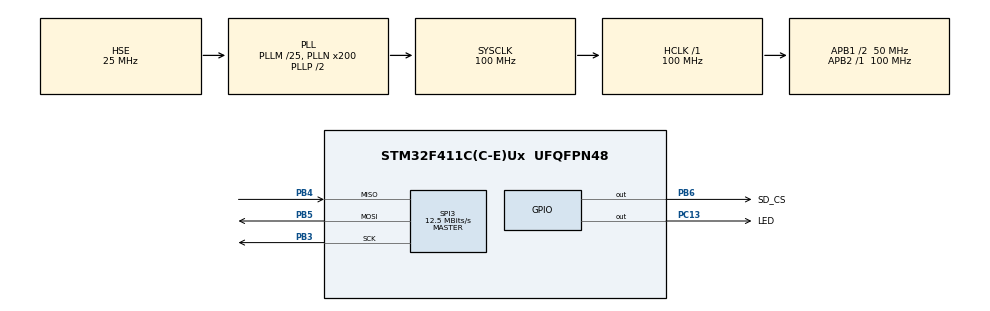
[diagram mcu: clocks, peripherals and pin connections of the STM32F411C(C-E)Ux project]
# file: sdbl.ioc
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FATFS._FS_EXFAT=1
FATFS._FS_LOCK=0
FATFS._FS_MINIMIZE=2
FATFS._FS_READONLY=1
FATFS._MAX_LFN=64
FATFS._MAX_SS=4096
FATFS._USE_LFN=1
FATFS._USE_MKFS=0
FATFS._USE_STRFUNC=0
Mcu.Family=STM32F4
Mcu.Name=STM32F411C(C-E)Ux
Mcu.Package=UFQFPN48
NVIC.PriorityGroup=NVIC_PRIORITYGROUP_4
PB3.Mode=Full_Duplex_Master
PB3.Signal=SPI3_SCK
PB4.Mode=Full_Duplex_Master
PB4.Signal=SPI3_MISO
PB5.Mode=Full_Duplex_Master
PB5.Signal=SPI3_MOSI
PB6.GPIO_Label=SD_CS
PB6.Signal=GPIO_Output
PC13-ANTI_TAMP.GPIO_Label=LED
PC13-ANTI_TAMP.Signal=GPIO_Output
PH0\ -\ OSC_IN.Mode=HSE-External-Oscillator
PH0\ -\ OSC_IN.Signal=RCC_OSC_IN
PH1\ -\ OSC_OUT.Mode=HSE-External-Oscillator
PH1\ -\ OSC_OUT.Signal=RCC_OSC_OUT
ProjectManager.HeapSize=0x200
ProjectManager.StackSize=0x400
ProjectManager.TargetToolchain=STM32CubeIDE
RCC.48MHZClocksFreq_Value=50000000
RCC.AHBFreq_Value=100000000
RCC.APB1CLKDivider=RCC_HCLK_DIV2
RCC.APB1Freq_Value=50000000
RCC.APB1TimFreq_Value=100000000
RCC.APB2Freq_Value=100000000
RCC.APB2TimFreq_Value=100000000
RCC.CortexFreq_Value=100000000
RCC.HCLKFreq_Value=100000000
RCC.HSE_VALUE=25000000
RCC.HSI_VALUE=16000000
RCC.LSE_VALUE=32768
RCC.PLLM=25
RCC.PLLN=200
RCC.PLLSourceVirtual=RCC_PLLSOURCE_HSE
RCC.SYSCLKFreq_VALUE=100000000
RCC.SYSCLKSource=RCC_SYSCLKSOURCE_PLLCLK
RCC.VCOOutputFreq_Value=200000000
SPI3.BaudRatePrescaler=SPI_BAUDRATEPRESCALER_4
SPI3.CalculateBaudRate=12.5 MBits/s
SPI3.Direction=SPI_DIRECTION_2LINES
SPI3.Mode=SPI_MODE_MASTER
SPI3.VirtualType=VM_MASTER
VP_FATFS_VS_Generic.Mode=User_defined
board=custom

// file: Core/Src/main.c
/* USER CODE BEGIN Header */
/**
  ******************************************************************************
  * @file           : main.c
  * @brief          : Main program body
  ******************************************************************************
  * @attention
  *
  * <h2><center>&copy; Copyright (c) 2022 STMicroelectronics.
  * All rights reserved.</center></h2>
  *
  * This software component is licensed by ST under Ultimate Liberty license
  * SLA0044, the "License"; You may not use this file except in compliance with
  * the License. You may obtain a copy of the License at:
  *                             www.st.com/SLA0044
  *
  ******************************************************************************
  */
/* USER CODE END Header */
#include "main.h"
#include "gpio.h"
#include "spi.h"
#include "fatfs.h"

/* USER CODE BEGIN Includes */
#include "bootloader.h"
/* USER CODE END Includes */

void SystemClock_Config(void);

int main(void)
{

  /* MCU Configuration--------------------------------------------------------*/

  /* Reset of all peripherals, Initializes the Flash interface and the Systick. */
  HAL_Init();

  /* USER CODE BEGIN Init */
  /* To be safe. Set VTOR to 0x08000000 */
  SCB->VTOR = FLASH_BASE;
  /* USER CODE END Init */

  /* Configure the system clock */
  SystemClock_Config();

  /* Initialize all configured peripherals */
  MX_GPIO_Init();
  MX_SPI3_Init();
  MX_FATFS_Init();
  /* USER CODE BEGIN 2 */
  uint32_t addr = APP_ADDRESS;

  /* Mount SD Card */
  fr = f_mount(&SDFat, USERPath, 1);

  /* If SD card is not mounted blink led, then go to current app if exists. If doesn't exist blink led */
  if(fr != FR_OK)
  {
	LED_GPIO_Port->ODR ^= LED_Pin;
	HAL_Delay(90);
	LED_GPIO_Port->ODR ^= LED_Pin;
	HAL_Delay(90);
	LED_GPIO_Port->ODR ^= LED_Pin;
	HAL_Delay(90);
	for(uint32_t i = 0; i < 1024; i++) {
		if(*(uint32_t*)addr == ((uint32_t)0xFFFFFFFF + (uint32_t)i)) {
			while(1) {
				LED_GPIO_Port->ODR ^= LED_Pin;
				HAL_Delay(50);
			}
		}
		else if(i == 1023) {
			jmp2addr(APP_ADDRESS);
		}
		addr += 4;
	}
  }

  /* If SD Card is present */
  else {
	  /* Check if any update comes. Go to uploading firmware if current app isn't same as app on sdcard */
	  if(check4update() == HAL_OK) {
		  jmp2addr(APP_ADDRESS);
	  }

	  else {
		  upload_fw();
		  jmp2addr(APP_ADDRESS);
	  }
  }

  /* USER CODE END 2 */

  /* Infinite loop */
  while (1)
  {

  }
}

void SystemClock_Config(void)
{
  RCC_OscInitTypeDef RCC_OscInitStruct = {0};
  RCC_ClkInitTypeDef RCC_ClkInitStruct = {0};

  /** Configure the main internal regulator output voltage
  */
  __HAL_RCC_PWR_CLK_ENABLE();
  __HAL_PWR_VOLTAGESCALING_CONFIG(PWR_REGULATOR_VOLTAGE_SCALE1);
  /** Initializes the RCC Oscillators according to the specified parameters
  * in the RCC_OscInitTypeDef structure.
  */
  RCC_OscInitStruct.OscillatorType = RCC_OSCILLATORTYPE_HSE;
  RCC_OscInitStruct.HSEState = RCC_HSE_ON;
  RCC_OscInitStruct.PLL.PLLState = RCC_PLL_ON;
  RCC_OscInitStruct.PLL.PLLSource = RCC_PLLSOURCE_HSE;
  RCC_OscInitStruct.PLL.PLLM = 25;
  RCC_OscInitStruct.PLL.PLLN = 200;
  RCC_OscInitStruct.PLL.PLLP = RCC_PLLP_DIV2;
  RCC_OscInitStruct.PLL.PLLQ = 4;
  if (HAL_RCC_OscConfig(&RCC_OscInitStruct) != HAL_OK)
  {
    Error_Handler();
  }
  /** Initializes the CPU, AHB and APB buses clocks
  */
  RCC_ClkInitStruct.ClockType = RCC_CLOCKTYPE_HCLK|RCC_CLOCKTYPE_SYSCLK
                              |RCC_CLOCKTYPE_PCLK1|RCC_CLOCKTYPE_PCLK2;
  RCC_ClkInitStruct.SYSCLKSource = RCC_SYSCLKSOURCE_PLLCLK;
  RCC_ClkInitStruct.AHBCLKDivider = RCC_SYSCLK_DIV1;
  RCC_ClkInitStruct.APB1CLKDivider = RCC_HCLK_DIV2;
  RCC_ClkInitStruct.APB2CLKDivider = RCC_HCLK_DIV1;

  if (HAL_RCC_ClockConfig(&RCC_ClkInitStruct, FLASH_LATENCY_3) != HAL_OK)
  {
    Error_Handler();
  }
}

void Error_Handler(void)
{
  __disable_irq();
  while (1)
  {
  }
}

/************************ (C) COPYRIGHT STMicroelectronics *****END OF FILE****/
